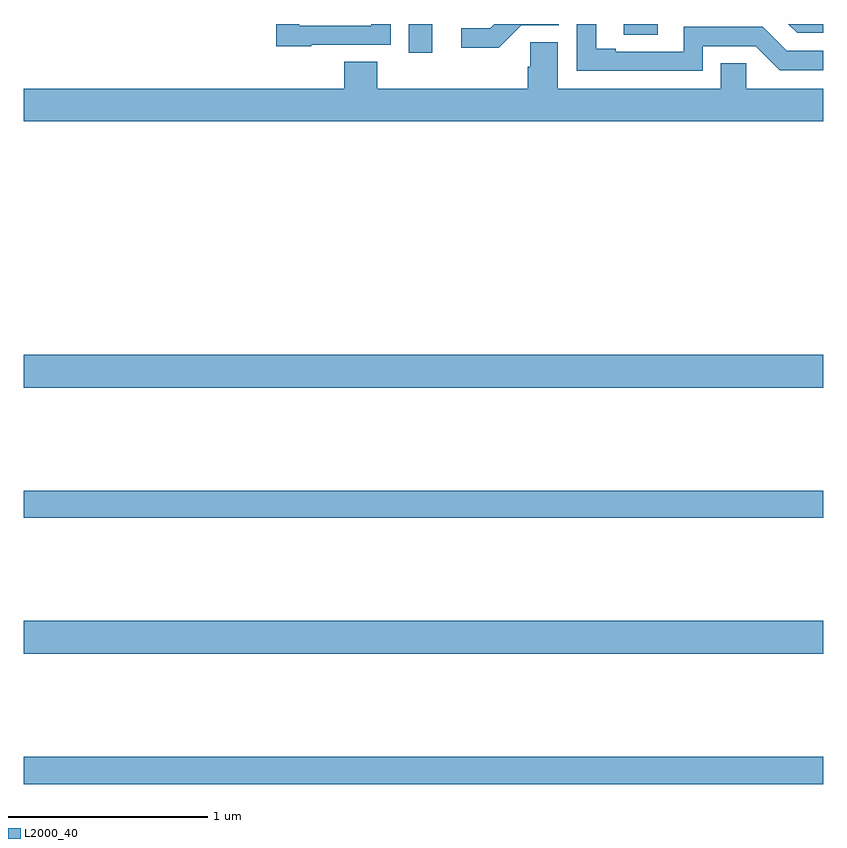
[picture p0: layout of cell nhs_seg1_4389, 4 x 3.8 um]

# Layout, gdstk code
import gdstk
lib = gdstk.Library(unit=1e-6, precision=1e-09)
def R(c, l, rs):  # rectangles x0, y0, x1, y1
    for r in rs: c.add(gdstk.rectangle(r[:2], r[2:], *l))
def P(c, l, *ps):  # polygons
    for p in ps: c.add(gdstk.Polygon(p, *l))
L2000_40 = (2000, 40)

nhs_seg1_4389 = lib.new_cell('nhs_seg1_4389')
R(nhs_seg1_4389, L2000_40, [(349,568.396,353,568.532), (349,569.048,353,569.212), (349,569.728,353,569.864), (349,570.38,353,570.544), (350.925,572.055,351.043,572.199), (352.002,572.146,352.172,572.199)])
P(nhs_seg1_4389, L2000_40, [(352.398,572.088),(352.662,572.088),(352.782,571.968),(353,571.968),(353,572.064),(352.818,572.064),(352.698,572.184),(352.302,572.184),(352.302,572.061),(351.961,572.061),(351.961,572.076),(351.865,572.076),(351.865,572.199),(351.768,572.199),(351.768,571.965),(352.398,571.965)],
  [(353,572.199),(352.824,572.199),(352.869,572.154),(353,572.154)],
  [(350.439,572.094),(350.835,572.094),(350.835,572.199),(350.739,572.199),(350.739,572.19),(350.379,572.19),(350.379,572.199),(350.263,572.199),(350.263,572.087),(350.439,572.087)],
  [(351.489,572.193),(351.678,572.193),(351.678,572.199),(351.354,572.199),(351.333,572.178),(351.189,572.178),(351.189,572.081),(351.376,572.081)],
  [(353,571.876),(352.614,571.876),(352.614,572.003),(352.487,572.003),(352.487,571.876),(351.673,571.876),(351.673,572.108),(351.534,572.108),(351.534,571.985),(351.521,571.985),(351.521,571.876),(350.768,571.876),(350.768,572.009),(350.603,572.009),(350.603,571.876),(349,571.876),(349,571.712),(353,571.712)])

lib.write_gds('nhs_seg1_4389.gds')
